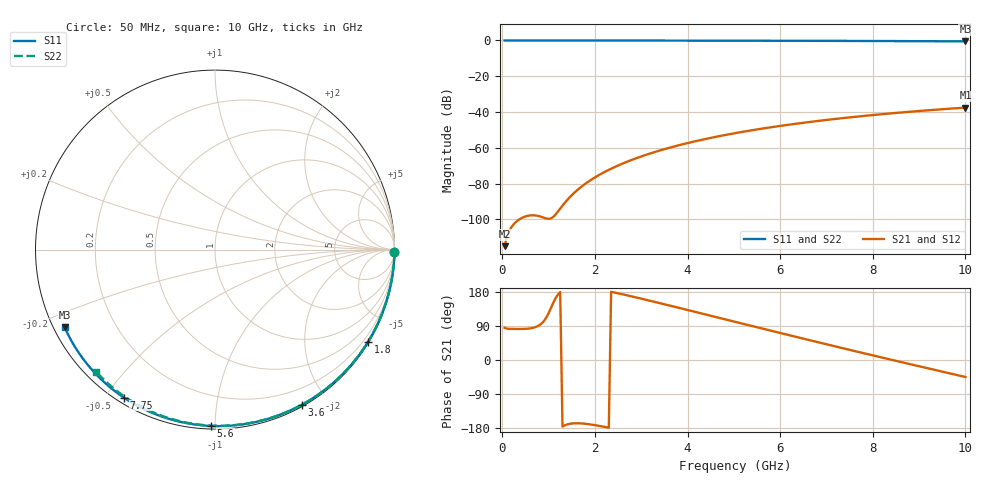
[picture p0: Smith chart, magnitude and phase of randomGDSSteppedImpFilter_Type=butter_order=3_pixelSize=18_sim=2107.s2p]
! freq	dB(S11)	phase(S11)	dB(S12)	phase(S12)
!  dB(S21)	phase(S21)	dB(S22)	phase(S22)
!S-par simulation data
#  GHz  S  DB  R 50
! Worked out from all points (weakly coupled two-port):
!   200 points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, 50 MHz to 10 GHz, reference 50 ohm
!   highest |S21| = -37.55 dB at 10 GHz (marker M1); lowest = -115.0 dB at 50 MHz (marker M2)
!   lowest |S11| = -0.5 dB at 10 GHz (marker M3), VSWR 34.14, Z = 1.55 - j12.1 ohm
!   |S11| at or under -10 dB: nowhere
!   |S22| runs from -0.4 to 0.0 dB; largest |S21 - S12| = 0
!   S11 on the Smith chart (normalised r, x): 50 MHz: open; 1.8 GHz: 0.03, -3.58; 3.6 GHz: 0.02, -1.70; 5.6 GHz: 0.02, -0.98; 7.75 GHz: 0.02, -0.56; 10 GHz: 0.03, -0.24
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0.05  -0.00 -0.9  -115.04 85.0  -115.04 85.0  -0.00 -0.8
0.45  -0.01 -7.9  -98.90 82.0  -98.90 82.0  -0.01 -7.0
0.9  -0.02 -15.8  -99.15 103.0  -99.15 103.0  -0.02 -13.9
1.3  -0.03 -22.7  -92.36 -175.8  -92.36 -175.8  -0.03 -20.0
1.75  -0.04 -30.4  -80.96 -167.8  -80.96 -167.8  -0.03 -26.8
1.8  -0.04 -31.2  -80.01 -168.4  -80.01 -168.4  -0.03 -27.5
1.95  -0.04 -33.8  -77.40 -170.8  -77.40 -170.8  -0.04 -29.8
2.1  -0.05 -36.3  -75.08 -174.0  -75.08 -174.0  -0.04 -32.0
2.3  -0.05 -39.6  -72.35 -178.7  -72.35 -178.7  -0.04 -35.0
2.5  -0.05 -43.0  -69.93 176.0  -69.93 176.0  -0.05 -37.9
2.9  -0.06 -49.5  -65.79 164.8  -65.79 164.8  -0.06 -43.7
3.4  -0.08 -57.6  -61.54 150.1  -61.54 150.1  -0.07 -50.9
3.6  -0.08 -60.8  -60.06 144.1  -60.06 144.1  -0.07 -53.8
4.3  -0.10 -71.8  -55.60 122.9  -55.60 122.9  -0.09 -63.5
5.05  -0.13 -83.2  -51.73 100.1  -51.73 100.1  -0.11 -73.7
5.6  -0.15 -91.3  -49.34 83.4  -49.34 83.4  -0.13 -80.9
6.15  -0.18 -99.2  -47.24 66.8  -47.24 66.8  -0.16 -88.0
6.7  -0.21 -107.0  -45.38 50.4  -45.38 50.4  -0.18 -94.9
7.75  -0.28 -121.6  -42.35 19.5  -42.35 19.5  -0.25 -107.7
8.35  -0.33 -129.9  -40.88 2.1  -40.88 2.1  -0.29 -114.9
9.2  -0.42 -141.5  -39.04 -22.2  -39.04 -22.2  -0.37 -124.9
10  -0.51 -152.7  -37.55 -44.8  -37.55 -44.8  -0.45 -134.2
